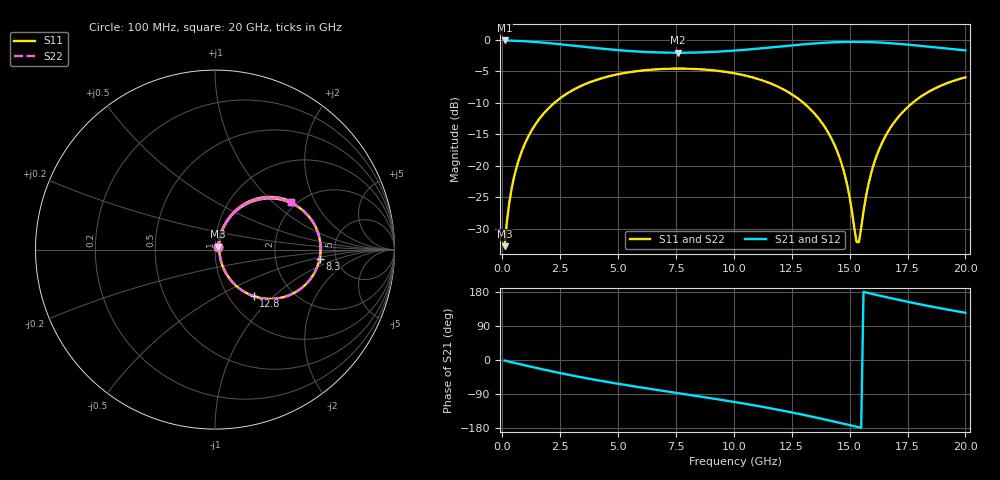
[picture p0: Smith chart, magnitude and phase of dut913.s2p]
! Touchstone file exported from HFSS 2026.1.0
!  File:  C:/ffzhzh/LocalFiles/Ansys_Project_Files/temp_train_TSV_RDL_913_1783278244_39728.aedt
!  Generated:  03:14:00 AM Jul  6, 2026
!  Design:  TSV_RDL
!  Project:  temp_train_TSV_RDL_913_1783278244_39728
! Variables:
!  h_bsmrdl = 3.96um
!  h_ox = 20um
!  h_rdl = 5um
!  h_sub = 92.73um
!  h_tmrdl = 4.38um
!  h_tsv = 92.73um
!  h_via = 3um
!  l_bsmrdl = 576.46um
!  l_sub = 3737.16um
!  l_tmrdl = 374.63um
!  m_sub = 200um
!  pitch = 55.72um
!  r_tsv = 9.23um
!  s_tmrdl = 10um
!  w_bsmrdl = 18.31um
!  w_sub = 500um
!  w_tmrdl = 18.11um
!  x_tsv_center1 = 383.685um
!  x_tsv_center2 = 978.455um
!  x_tsv_center3 = 1371.195um
!  x_tsv_center4 = 1965.965um
!  x_tsv_center5 = 2358.705um
!  x_tsv_center6 = 2953.475um
# GHz S MA R 50.000000
! Terminal data exported
! Port[1] = TM_RDL1_1_T1
! Port[2] = TM_RDL5_1_T1
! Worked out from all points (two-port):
!   200 points, 100 MHz to 20 GHz, reference 50 ohm
!   highest |S21| = -0.14 dB at 100 MHz (marker M1); lowest = -2.1 dB at 7.6 GHz (marker M2)
!   |S21| within 3 dB of the highest: start of sweep to end of sweep
!   lowest |S11| = -32.7 dB at 100 MHz (marker M3), VSWR 1.05, Z = 51.7 + j1.64 ohm
!   |S11| at or under -10 dB: start of sweep to 2.259 GHz; 13 GHz to 17.73 GHz (4.726 GHz wide, 30.8 % of centre)
!   |S22| runs from -32.7 to -4.6 dB; largest |S21 - S12| = 3.2e-14
!   S11 on the Smith chart (normalised r, x): 100 MHz: 1.03, +0.03; 8.3 GHz: 3.71, -0.60; 12.8 GHz: 1.30, -0.76; 20 GHz: 1.86, +1.33
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0.1  0.02311 43.2  0.9834 -1.5  0.9834 -1.5  0.02311 43.2
! Gamma 0 0 0 0
! Port Impedance 50 0 50 0
0.3  0.05079 65.4  0.9814 -4.4  0.9814 -4.4  0.05079 65.4
0.5  0.08026 69.5  0.9786 -7.3  0.9786 -7.3  0.08026 69.5
1.1  0.1673 67.4  0.9663 -15.9  0.9663 -15.9  0.1673 67.4
2.1  0.2978 56.5  0.9336 -29.4  0.9336 -29.4  0.2978 56.5
3.5  0.4374 40.6  0.877 -46.6  0.877 -46.6  0.4374 40.6
6.8  0.5832 8.2  0.7899 -80.1  0.7899 -80.1  0.5832 8.2
7.6  0.5885 1.0  0.7861 -87.5  0.7861 -87.5  0.5885 1.0
8.3  0.5848 -5.3  0.7886 -94.1  0.7886 -94.1  0.5848 -5.2
10.1  0.5371 -22.0  0.8191 -111.5  0.8191 -111.5  0.5371 -21.9
12.8  0.3381 -50.2  0.9093 -142.1  0.9093 -142.1  0.3381 -50.2
13.4  0.2696 -56.8  0.9289 -149.8  0.9289 -149.8  0.2696 -56.7
14.1  0.1799 -63.5  0.947 -159.3  0.947 -159.3  0.18 -63.4
14.6  0.1114 -65.5  0.9552 -166.2  0.9552 -166.2  0.1114 -65.4
15  0.05645 -58.4  0.9585 -171.9  0.9585 -171.9  0.05655 -58.2
15.3  0.02497 -14.8  0.9589 -176.1  0.9589 -176.1  0.02516 -14.7
15.4  0.02491 17.9  0.9586 -177.5  0.9586 -177.5  0.02508 17.7
15.7  0.05618 61.8  0.9565 178.2  0.9565 178.2  0.05623 61.7
16  0.09699 68.6  0.9527 174.0  0.9527 174.0  0.097 68.5
16.7  0.192 66.3  0.9375 164.3  0.9375 164.3  0.192 66.2
18  0.3454 53.0  0.8938 147.4  0.8938 147.4  0.3453 52.9
20  0.5023 32.1  0.8212 124.6  0.8212 124.6  0.5023 32.1
